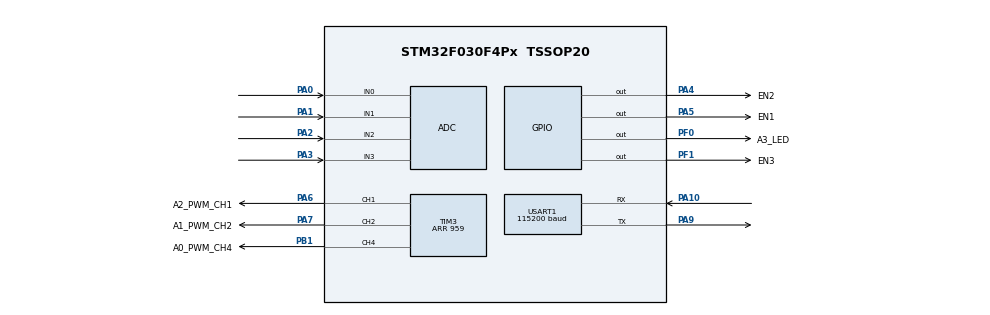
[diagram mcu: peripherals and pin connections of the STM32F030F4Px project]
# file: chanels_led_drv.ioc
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ADC.ContinuousConvMode=ENABLE
ADC.DMAContinuousRequests=ENABLE
ADC.DiscontinuousConvMode=DISABLE
ADC.EOCSelection=ADC_EOC_SINGLE_CONV
ADC.EnableAnalogWatchDog=false
ADC.ExternalTrigConv=ADC_SOFTWARE_START
ADC.Overrun=ADC_OVR_DATA_PRESERVED
ADC.SamplingTime=ADC_SAMPLETIME_71CYCLES_5
ADC.ScanConvMode=ADC_SCAN_DIRECTION_FORWARD
Dma.ADC.0.Direction=DMA_PERIPH_TO_MEMORY
Dma.ADC.0.Instance=DMA1_Channel1
Dma.ADC.0.MemDataAlignment=DMA_MDATAALIGN_HALFWORD
Dma.ADC.0.MemInc=DMA_MINC_ENABLE
Dma.ADC.0.Mode=DMA_CIRCULAR
Dma.ADC.0.PeriphDataAlignment=DMA_PDATAALIGN_HALFWORD
Dma.ADC.0.PeriphInc=DMA_PINC_DISABLE
Dma.ADC.0.Priority=DMA_PRIORITY_LOW
Dma.Request0=ADC
Dma.Request1=USART1_RX
Dma.USART1_RX.1.Direction=DMA_PERIPH_TO_MEMORY
Dma.USART1_RX.1.Instance=DMA1_Channel3
Dma.USART1_RX.1.MemDataAlignment=DMA_MDATAALIGN_HALFWORD
Dma.USART1_RX.1.MemInc=DMA_MINC_ENABLE
Dma.USART1_RX.1.Mode=DMA_CIRCULAR
Dma.USART1_RX.1.PeriphDataAlignment=DMA_PDATAALIGN_HALFWORD
Dma.USART1_RX.1.PeriphInc=DMA_PINC_DISABLE
Dma.USART1_RX.1.Priority=DMA_PRIORITY_LOW
Mcu.Family=STM32F0
Mcu.Name=STM32F030F4Px
Mcu.Package=TSSOP20
NVIC.DMA1_Channel1_IRQn=true\:0\:0\:false\:false\:true\:false\:true\:true
NVIC.DMA1_Channel2_3_IRQn=true\:0\:0\:false\:false\:true\:false\:true\:true
NVIC.USART1_IRQn=true\:0\:0\:false\:false\:true\:true\:true\:true
PA0.Mode=IN0
PA0.Signal=ADC_IN0
PA1.Mode=IN1
PA1.Signal=ADC_IN1
PA10.Mode=Multiprocessor_communication
PA10.Signal=USART1_RX
PA13.Mode=Serial_Wire
PA13.Signal=SYS_SWDIO
PA14.Mode=Serial_Wire
PA14.Signal=SYS_SWCLK
PA2.Mode=IN2
PA2.Signal=ADC_IN2
PA3.Mode=IN3
PA3.Signal=ADC_IN3
PA4.GPIO_Label=EN2
PA4.Signal=GPIO_Output
PA5.GPIO_Label=EN1
PA5.Signal=GPIO_Output
PA6.GPIO_Label=A2_PWM_CH1
PA6.Signal=S_TIM3_CH1
PA7.GPIO_Label=A1_PWM_CH2
PA7.Signal=S_TIM3_CH2
PA9.Mode=Multiprocessor_communication
PA9.Signal=USART1_TX
PB1.GPIO_Label=A0_PWM_CH4
PB1.Signal=S_TIM3_CH4
PF0-OSC_IN.GPIO_Label=A3_LED
PF0-OSC_IN.Signal=GPIO_Output
PF1-OSC_OUT.GPIO_Label=EN3
PF1-OSC_OUT.Signal=GPIO_Output
ProjectManager.HeapSize=0x200
ProjectManager.StackSize=0x400
ProjectManager.TargetToolchain=STM32CubeIDE
RCC.AHBFreq_Value=48000000
RCC.APB1Freq_Value=48000000
RCC.APB1TimFreq_Value=48000000
RCC.HCLKFreq_Value=48000000
RCC.PLLMUL=RCC_PLL_MUL12
RCC.SYSCLKFreq_VALUE=48000000
RCC.SYSCLKSource=RCC_SYSCLKSOURCE_PLLCLK
SH.S_TIM3_CH1.0=TIM3_CH1,PWM Generation1 CH1
SH.S_TIM3_CH2.0=TIM3_CH2,PWM Generation2 CH2
SH.S_TIM3_CH4.0=TIM3_CH4,PWM Generation4 CH4
TIM3.Channel-PWM\ Generation1\ CH1=TIM_CHANNEL_1
TIM3.Channel-PWM\ Generation2\ CH2=TIM_CHANNEL_2
TIM3.Channel-PWM\ Generation4\ CH4=TIM_CHANNEL_4
TIM3.Period=959
USART1.Address=OwnAddr
USART1.AddressLength=UART_ADDRESS_DETECT_7B
USART1.AutoBaudRateEnableParam=UART_ADVFEATURE_AUTOBAUDRATE_DISABLE
USART1.BaudRate=115200
USART1.SwapParam=ADVFEATURE_SWAP_ENABLE
USART1.VirtualMode-Multiprocessor_communication=VM_ASYNC
USART1.WakeUpMethod=UART_WAKEUPMETHOD_ADDRESSMARK
USART1.WordLength=WORDLENGTH_9B
VP_ADC_TempSens_Input.Mode=IN-TempSens
VP_TIM3_VS_ClockSourceINT.Mode=Internal
board=custom

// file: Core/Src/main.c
/* USER CODE BEGIN Header */
/**
 ******************************************************************************
 * @file           : main.c
 * @brief          : Main program body
 ******************************************************************************
 * @attention
 *
 * Copyright (c) 2023 STMicroelectronics.
 * All rights reserved.
 *
 * This software is licensed under terms that can be found in the LICENSE file
 * in the root directory of this software component.
 * If no LICENSE file comes with this software, it is provided AS-IS.
 *
 ******************************************************************************
 */
/* USER CODE END Header */
#include "main.h"
#include "adc.h"
#include "dma.h"
#include "tim.h"
#include "usart.h"
#include "gpio.h"

/* USER CODE BEGIN PTD */
__IO uint32_t     Transfer_Direction = 0;
__IO uint32_t     Xfer_Complete = 0;
#define ln_ch 5 //chanels for adc

/* USER CODE END PTD */

/* USER CODE BEGIN PD */
extern ADC_HandleTypeDef hadc;
extern TIM_HandleTypeDef htim3;
/* Buffer used for transmission */
uint16_t aTxBuffer[24] = {0};

/* Buffer used for reception */
uint16_t aRxBuffer[16] = {0};

uint16_t adc_buffer[ln_ch*2] = {0};

#define COUNTOF(__BUFFER__)   (sizeof(__BUFFER__) / sizeof(*(__BUFFER__)))
/* Size of Transmission buffer */
uint16_t TXBUFFERSIZE = (COUNTOF(aTxBuffer));
/* Size of Reception buffer */
uint16_t RXBUFFERSIZE = (COUNTOF(aRxBuffer));
/* USER CODE END PD */

/* USER CODE BEGIN PV */
uint8_t rxEnd = 1;
volatile uint32_t OwnAddr = 0;
uint8_t en1 = 0, en2 = 0, en3 = 0;
uint8_t adc_Flag = 0;
uint32_t PWM1 = 0, PWM2 = 0, PWM3 = 0;

/* USER CODE END PV */

void SystemClock_Config(void);

int main(void)
{

  /* MCU Configuration--------------------------------------------------------*/

  /* Reset of all peripherals, Initializes the Flash interface and the Systick. */
  HAL_Init();

  /* Configure the system clock */
  SystemClock_Config();

  /* USER CODE BEGIN SysInit */

	IN_GPIO_Init();

	//Bit0
	if (LL_GPIO_IsInputPinSet(A0_PWM_CH4_GPIO_Port, A0_PWM_CH4_Pin))
	{SET_BIT(OwnAddr,1<<0);}
	else {CLEAR_BIT(OwnAddr,1<<0);}
	//Bit1
	if (LL_GPIO_IsInputPinSet(A1_PWM_CH2_GPIO_Port, A1_PWM_CH2_Pin))
	{SET_BIT(OwnAddr,1<<1);}
	else {CLEAR_BIT(OwnAddr,1<<1);}
	//Bit2
	if (LL_GPIO_IsInputPinSet(A2_PWM_CH1_GPIO_Port, A2_PWM_CH1_Pin))
	{SET_BIT(OwnAddr,1<<2);}
	else {CLEAR_BIT(OwnAddr,1<<2);}
	//Bit3
	if (LL_GPIO_IsInputPinSet(A3_LED_GPIO_Port, A3_LED_Pin))
	{SET_BIT(OwnAddr,1<<3);}
	else {CLEAR_BIT(OwnAddr,1<<3);}
	//Bit4
	//SET_BIT(OwnAddr,1<<4);

	LL_GPIO_DeInit(A0_PWM_CH4_GPIO_Port);
	LL_GPIO_DeInit(A1_PWM_CH2_GPIO_Port);
	LL_GPIO_DeInit(A3_LED_GPIO_Port);

  /* USER CODE END SysInit */

  /* Initialize all configured peripherals */
  MX_GPIO_Init();
  MX_DMA_Init();
  MX_ADC_Init();
  MX_TIM3_Init();
  MX_USART1_UART_Init();
  /* USER CODE BEGIN 2 */

	HAL_TIM_PWM_Start(&htim3,TIM_CHANNEL_1);
	HAL_TIM_PWM_Start(&htim3,TIM_CHANNEL_2);
	HAL_TIM_PWM_Start(&htim3,TIM_CHANNEL_4);

	if(HAL_ADCEx_Calibration_Start(&hadc) != HAL_OK){
		Error_Handler();
	}

	if(HAL_ADC_Start_DMA(&hadc, (uint32_t*)&adc_buffer, ln_ch) != HAL_OK){
		Error_Handler();
	}

	HAL_MultiProcessor_EnableMuteMode(&huart1);
	HAL_MultiProcessor_EnterMuteMode(&huart1);
	HAL_UART_Receive_DMA(&huart1, (uint8_t*)aRxBuffer, 16);
  /* USER CODE END 2 */

  /* Infinite loop */
  /* USER CODE BEGIN WHILE */
	while (1)
	{
		if(rxEnd == 1){
			rxEnd = 0;
			PWM1 = aRxBuffer[1] |(aRxBuffer[2] << 8)|(aRxBuffer[3] << 16)|(aRxBuffer[4] << 24);
			en1 = aRxBuffer[5];
			PWM2 = aRxBuffer[6] |(aRxBuffer[7] << 8)|(aRxBuffer[8] << 16)|(aRxBuffer[9] << 24);
			en2 = aRxBuffer[10];
			PWM3 = aRxBuffer[11] |(aRxBuffer[11] << 8)|(aRxBuffer[13] << 16)|(aRxBuffer[14] << 24);
			en3 = aRxBuffer[15];

			for (int i = 0; i < RXBUFFERSIZE; ++i) {
				aRxBuffer[i] = 0;
			}
		}

		if(en1) htim3.Instance->CCR4 = PWM1;
		else htim3.Instance->CCR4 = 0;

		if(en2) htim3.Instance->CCR2 = PWM2;
		else htim3.Instance->CCR2 = 0;

		if(en3) htim3.Instance->CCR1 = PWM3;
		else htim3.Instance->CCR1 = 0;

		if (adc_Flag){
			//обработка

			// Запретить прерывания IRQ
			__disable_irq ();

			aTxBuffer[4] = adc_buffer[2]&0xFF;
			aTxBuffer[5] = (adc_buffer[2]>>8)&0xFF;

			aTxBuffer[11] = adc_buffer[1]&0xFF;
			aTxBuffer[12] = (adc_buffer[1]>>8)&0xFF;

			aTxBuffer[18] = adc_buffer[0]&0xFF;
			aTxBuffer[19] = (adc_buffer[0]>>8)&0xFF;

			aTxBuffer[0] = htim3.Instance->CCR4 & 0xFF;
			aTxBuffer[1] = (htim3.Instance->CCR4 >> 8) & 0xFF;
			aTxBuffer[2] = (htim3.Instance->CCR4 >> 16) & 0xFF;
			aTxBuffer[3] = (htim3.Instance->CCR4 >> 24) & 0xFF;
			aTxBuffer[6] = en1;

			aTxBuffer[7] = htim3.Instance->CCR2 & 0xFF;
			aTxBuffer[8] = (htim3.Instance->CCR2 >> 8) & 0xFF;
			aTxBuffer[9] = (htim3.Instance->CCR2 >> 16) & 0xFF;
			aTxBuffer[10] = (htim3.Instance->CCR2 >> 24) & 0xFF;
			aTxBuffer[13] = en2;

			aTxBuffer[14] = htim3.Instance->CCR1 & 0xFF;
			aTxBuffer[15] = (htim3.Instance->CCR1 >> 8) & 0xFF;
			aTxBuffer[16] = (htim3.Instance->CCR1 >> 16) & 0xFF;
			aTxBuffer[17] = (htim3.Instance->CCR1 >> 24) & 0xFF;
			aTxBuffer[20] = en3;
			aTxBuffer[21] = OwnAddr;
			aTxBuffer[22] = 10; // Type
			aTxBuffer[23] = 0;

			// Разрешить прерывания IRQ
			__enable_irq ();
			HAL_Delay(1);
			adc_Flag = 0;
			if(HAL_ADC_Start_DMA(&hadc, (uint32_t*)&adc_buffer, ln_ch) != HAL_OK){
				Error_Handler();
			}
		}
		HAL_Delay(1);
    /* USER CODE END WHILE */

	}
}

void SystemClock_Config(void)
{
  LL_FLASH_SetLatency(LL_FLASH_LATENCY_1);
  while(LL_FLASH_GetLatency() != LL_FLASH_LATENCY_1)
  {
  }
  LL_RCC_HSI_Enable();

   /* Wait till HSI is ready */
  while(LL_RCC_HSI_IsReady() != 1)
  {

  }
  LL_RCC_HSI_SetCalibTrimming(16);
  LL_RCC_HSI14_Enable();

   /* Wait till HSI14 is ready */
  while(LL_RCC_HSI14_IsReady() != 1)
  {

  }
  LL_RCC_HSI14_SetCalibTrimming(16);
  LL_RCC_PLL_ConfigDomain_SYS(LL_RCC_PLLSOURCE_HSI_DIV_2, LL_RCC_PLL_MUL_12);
  LL_RCC_PLL_Enable();

   /* Wait till PLL is ready */
  while(LL_RCC_PLL_IsReady() != 1)
  {

  }
  LL_RCC_SetAHBPrescaler(LL_RCC_SYSCLK_DIV_1);
  LL_RCC_SetAPB1Prescaler(LL_RCC_APB1_DIV_1);
  LL_RCC_SetSysClkSource(LL_RCC_SYS_CLKSOURCE_PLL);

   /* Wait till System clock is ready */
  while(LL_RCC_GetSysClkSource() != LL_RCC_SYS_CLKSOURCE_STATUS_PLL)
  {

  }
  LL_SetSystemCoreClock(48000000);

   /* Update the time base */
  if (HAL_InitTick (TICK_INT_PRIORITY) != HAL_OK)
  {
    Error_Handler();
  }
  LL_RCC_HSI14_EnableADCControl();
  LL_RCC_SetUSARTClockSource(LL_RCC_USART1_CLKSOURCE_PCLK1);
}

/* USER CODE BEGIN 4 */
void HAL_UART_TxCpltCallback(UART_HandleTypeDef *huart){
	HAL_GPIO_TogglePin(A3_LED_GPIO_Port, A3_LED_Pin);
	//HAL_UART_Receive_IT(huart, (uint8_t*)aRxBuffer, 15);
}

void HAL_UART_RxCpltCallback(UART_HandleTypeDef *huart){

	rxEnd = 1;
	HAL_GPIO_TogglePin(A3_LED_GPIO_Port, A3_LED_Pin);
	HAL_UART_Transmit_IT(huart, (uint8_t*)aTxBuffer, 24);
	HAL_UART_Receive_DMA(&huart1, (uint8_t*)aRxBuffer, 16);

}
void HAL_UART_ErrorCallback(UART_HandleTypeDef *huart)
{
        if (huart == &huart1)
        {
                uint32_t er = HAL_UART_GetError(&huart1);

                if (er & HAL_UART_ERROR_PE)
                {
                        __HAL_UART_CLEAR_PEFLAG(&huart1);
                }
                if (er & HAL_UART_ERROR_NE)
                {
                	__HAL_UART_CLEAR_NEFLAG(&huart1);
                }
                if (er & HAL_UART_ERROR_FE)
                {
                	__HAL_UART_CLEAR_FEFLAG(&huart1);
                }
                if (er & HAL_UART_ERROR_ORE)
                {
                	__HAL_UART_CLEAR_OREFLAG(&huart1);
                }
                if (er & HAL_UART_ERROR_DMA)
                {
                	__HAL_UART_CLEAR_NEFLAG(&huart1);
                }
                huart->ErrorCode = HAL_UART_ERROR_NONE;
        }
}
/** Configure pins as
 */
void IN_GPIO_Init(void)
{

	LL_GPIO_InitTypeDef GPIO_InitStruct = {0};

	/* GPIO Ports Clock Enable */
	LL_AHB1_GRP1_EnableClock(LL_AHB1_GRP1_PERIPH_GPIOF);
	LL_AHB1_GRP1_EnableClock(LL_AHB1_GRP1_PERIPH_GPIOA);
	LL_AHB1_GRP1_EnableClock(LL_AHB1_GRP1_PERIPH_GPIOB);

	/**/
	LL_GPIO_ResetOutputPin(A0_PWM_CH4_GPIO_Port, A0_PWM_CH4_Pin);

	/**/
	LL_GPIO_ResetOutputPin(A1_PWM_CH2_GPIO_Port, A1_PWM_CH2_Pin);

	/**/
	LL_GPIO_ResetOutputPin(A2_PWM_CH1_GPIO_Port, A2_PWM_CH1_Pin);

	/**/
	LL_GPIO_ResetOutputPin(A3_LED_GPIO_Port, A3_LED_Pin);

	/**/
	GPIO_InitStruct.Pin = A0_PWM_CH4_Pin;
	GPIO_InitStruct.Mode = LL_GPIO_MODE_INPUT;
	GPIO_InitStruct.Pull = LL_GPIO_PULL_NO;
	LL_GPIO_Init(A0_PWM_CH4_GPIO_Port, &GPIO_InitStruct);

	/**/
	GPIO_InitStruct.Pin = A1_PWM_CH2_Pin;
	LL_GPIO_Init(A1_PWM_CH2_GPIO_Port, &GPIO_InitStruct);

	/**/
	GPIO_InitStruct.Pin = A1_PWM_CH2_Pin;
	LL_GPIO_Init(A2_PWM_CH1_GPIO_Port, &GPIO_InitStruct);

	/**/
	GPIO_InitStruct.Pin = A3_LED_Pin;
	LL_GPIO_Init(A3_LED_GPIO_Port, &GPIO_InitStruct);

}

void HAL_ADC_ConvCpltCallback(ADC_HandleTypeDef* hadc){
	/* This is called after the conversion is completed */

	HAL_ADC_Stop_DMA(hadc);
	adc_Flag = 1;

}
/* USER CODE END 4 */

void Error_Handler(void)
{
  /* USER CODE BEGIN Error_Handler_Debug */
	NVIC_SystemReset();
	/* User can add his own implementation to report the HAL error return state */
	__disable_irq();
	while (1)
	{

	}
  /* USER CODE END Error_Handler_Debug */
}
